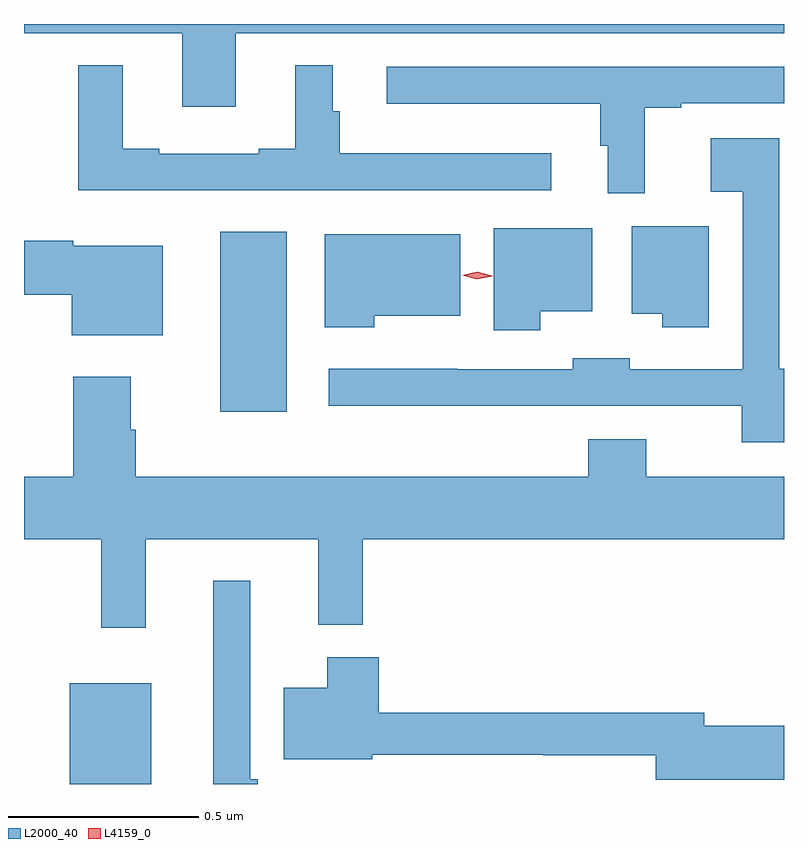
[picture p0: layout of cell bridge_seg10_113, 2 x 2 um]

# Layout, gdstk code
import gdstk
lib = gdstk.Library(unit=1e-6, precision=1e-09)
def R(c, l, rs):  # rectangles x0, y0, x1, y1
    for r in rs: c.add(gdstk.rectangle(r[:2], r[2:], *l))
def P(c, l, *ps):  # polygons
    for p in ps: c.add(gdstk.Polygon(p, *l))
L2000_40 = (2000, 40)
L4159_0 = (4159, 0)

bridge_seg10_113 = lib.new_cell('bridge_seg10_113')
R(bridge_seg10_113, L2000_40, [(446.408,1255.716,446.623,1255.981), (446.804,1256.696,446.98,1257.169)])
P(bridge_seg10_113, L2000_40, [(446.845,1257.692),(448.288,1257.692),(448.288,1257.716),(446.288,1257.716),(446.288,1257.692),(446.705,1257.692),(446.705,1257.498),(446.845,1257.498)],
  [(446.723,1257.279),(447.676,1257.279),(447.676,1257.376),(447.119,1257.376),(447.119,1257.486),(447.1,1257.486),(447.1,1257.607),(447.002,1257.607),(447.002,1257.388),(446.906,1257.388),(446.906,1257.375),(446.644,1257.375),(446.644,1257.388),(446.548,1257.388),(446.548,1257.607),(446.431,1257.607),(446.431,1257.278),(446.723,1257.278)],
  [(447.922,1257.495),(448.018,1257.495),(448.018,1257.507),(448.288,1257.507),(448.288,1257.603),(447.243,1257.603),(447.243,1257.506),(447.805,1257.506),(447.805,1257.396),(447.824,1257.396),(447.824,1257.27),(447.922,1257.27)],
  [(448.288,1256.809),(448.275,1256.809),(448.275,1257.415),(448.095,1257.415),(448.095,1257.275),(448.179,1257.275),(448.179,1256.808),(447.882,1256.808),(447.882,1256.836),(447.732,1256.836),(447.732,1256.808),(447.428,1256.808),(447.428,1256.809),(447.09,1256.809),(447.09,1256.711),(448.177,1256.711),(448.177,1256.616),(448.288,1256.616)],
  [(448.09,1257.184),(447.887,1257.184),(447.887,1256.954),(447.968,1256.954),(447.968,1256.918),(448.09,1256.918)],
  [(447.646,1256.96),(447.784,1256.96),(447.784,1257.178),(447.524,1257.178),(447.524,1256.91),(447.646,1256.91)],
  [(447.21,1256.948),(447.436,1256.948),(447.436,1257.163),(447.08,1257.163),(447.08,1256.918),(447.21,1256.918)],
  [(446.653,1257.133),(446.418,1257.133),(446.418,1257.146),(446.288,1257.146),(446.288,1257.004),(446.414,1257.004),(446.414,1256.897),(446.653,1256.897)],
  [(446.609,1256.36),(447.062,1256.36),(447.062,1256.135),(447.179,1256.135),(447.179,1256.36),(448.288,1256.36),(448.288,1256.524),(447.925,1256.524),(447.925,1256.623),(447.773,1256.623),(447.773,1256.524),(446.582,1256.524),(446.582,1256.648),(446.569,1256.648),(446.569,1256.788),(446.417,1256.788),(446.417,1256.524),(446.288,1256.524),(446.288,1256.36),(446.491,1256.36),(446.491,1256.127),(446.609,1256.127)],
  [(446.903,1255.729),(446.883,1255.729),(446.883,1256.251),(446.786,1256.251),(446.786,1255.716),(446.903,1255.716)],
  [(448.288,1255.869),(448.078,1255.869),(448.078,1255.903),(447.221,1255.903),(447.221,1256.05),(447.086,1256.05),(447.086,1255.969),(446.972,1255.969),(446.972,1255.781),(447.204,1255.781),(447.204,1255.793),(447.654,1255.793),(447.654,1255.792),(447.95,1255.792),(447.95,1255.727),(448.288,1255.727)])
P(bridge_seg10_113, L4159_0, [(447.48,1257.044),(447.441,1257.055),(447.441,1257.055),(447.441,1257.055),(447.481,1257.064),(447.52,1257.053),(447.52,1257.053),(447.52,1257.052)])

lib.write_gds('bridge_seg10_113.gds')
